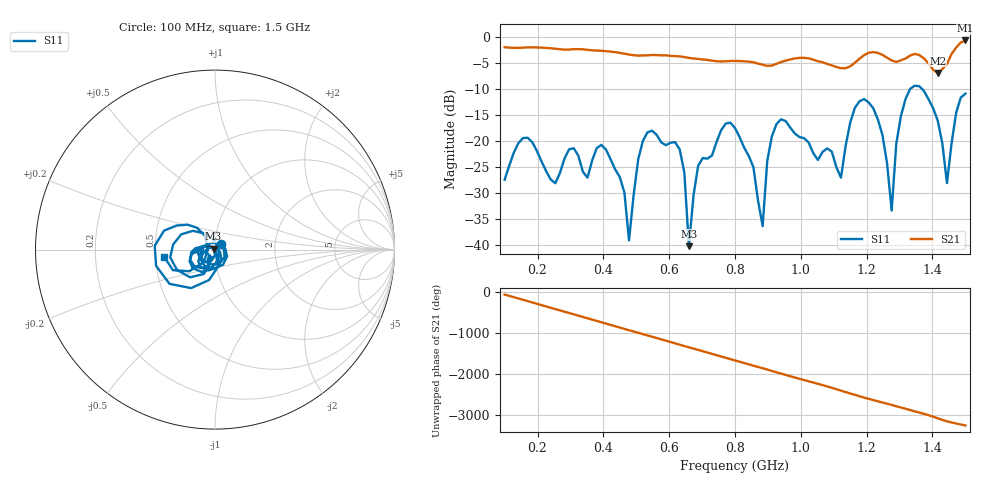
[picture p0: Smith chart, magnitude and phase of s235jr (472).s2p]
! NanoVNA-App
! Date: 2025-09-25 15:07:50
! Start: 100MHz Stop: 1,5GHz Points: 101
! S-Parameter data: F S11 S21 S12 S22
# Hz S RI R 50
!  Frequency  S11_Real  S11_Imag  S21_Real  S21_Imag  S12_Real  S12_Imag  S22_Real  S22_Imag
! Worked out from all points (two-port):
!   101 points, 100 MHz to 1.5 GHz, reference 50 ohm
!   highest |S21| = -0.66 dB at 1.5 GHz (marker M1); lowest = -6.9 dB at 1.416 GHz (marker M2)
!   |S21| within 3 dB of the highest: start of sweep to 614.5 MHz; 1.189 GHz to 1.254 GHz (65.19 MHz wide, 5.34 % of centre) (the widest 2 of 4)
!   lowest |S11| = -40.3 dB at 660 MHz (marker M3), VSWR 1.02, Z = 49.2 + j0.541 ohm
!   |S11| at or under -10 dB: start of sweep to 1.332 GHz; 1.368 GHz to end of sweep
!   S12 and S22 are empty: the file has one direction only
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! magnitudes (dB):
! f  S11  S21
! 100 MHz  -27.5  -2.0
! 156 MHz  -19.4  -2.0
! 338 MHz  -26.0  -2.4
! 408 MHz  -21.7  -2.7
! 478 MHz  -39.1  -3.4
! 520 MHz  -20.0  -3.5
! 576 MHz  -20.3  -3.5
! 632 MHz  -21.6  -3.7
! 660 MHz  -40.3  -4.0
! 688 MHz  -24.8  -4.2
! 800 MHz  -17.5  -4.6
! 884 MHz  -36.4  -5.3
! 926 MHz  -16.8  -5.2
! 1.038 GHz  -22.4  -4.4
! 1.122 GHz  -27.1  -6.0
! 1.206 GHz  -12.6  -3.0
! 1.276 GHz  -33.4  -4.5
! 1.29 GHz  -20.6  -4.8
! 1.332 GHz  -10.0  -3.6
! 1.416 GHz  -16.1  -6.9
! 1.444 GHz  -28.1  -5.2
! 1.5 GHz  -10.9  -0.7
